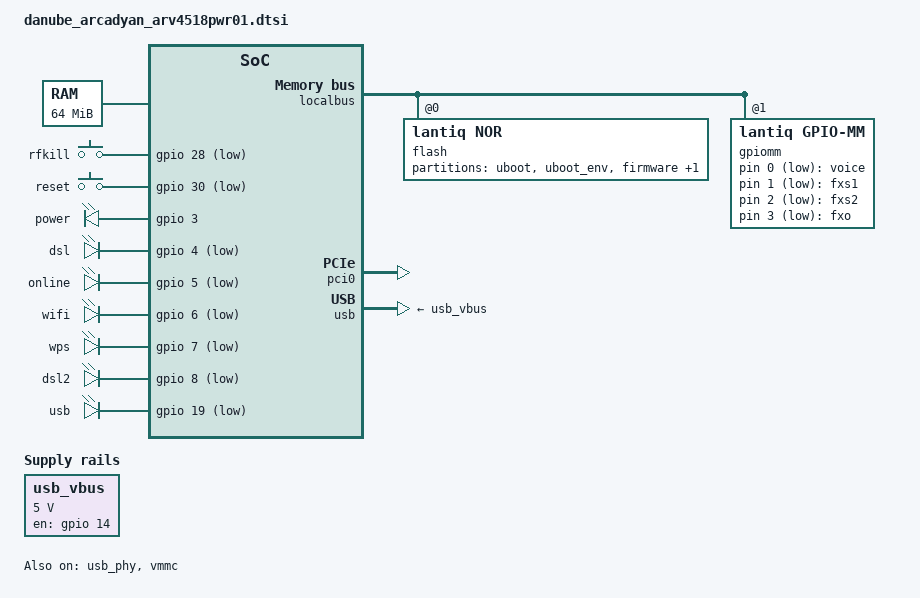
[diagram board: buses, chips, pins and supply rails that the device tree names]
#include "danube.dtsi"

#include <dt-bindings/input/input.h>

/ {
	chosen {
		bootargs = "console=ttyLTQ0,115200";
	};

	aliases {
		led-boot = &power;
		led-failsafe = &power;
		led-running = &power;
		led-upgrade = &power;

		led-dsl = &dsl;
		led-internet = &online;
		led-usb = &led_usb;
		led-wifi = &wifi;
	};

	memory@0 {
		device_type = "memory";
		reg = <0x0 0x4000000>;
	};

	ath5k_eep {
		compatible = "ath5k,eeprom";
		ath,eep-flash = <&boardconfig 0x400>;
		ath,mac-offset = <0x16>;
		ath,mac-increment = <1>;
		ath,eep-swap;
	};

	keys {
		compatible = "gpio-keys-polled";
		poll-interval = <100>;

		rfkill {
			label = "rfkill";
			gpios = <&gpio 28 GPIO_ACTIVE_LOW>;
			linux,code = <KEY_RFKILL>;
		};
		reset {
			label = "reset";
			gpios = <&gpio 30 GPIO_ACTIVE_LOW>;
			linux,code = <KEY_RESTART>;
		};
	};

	leds {
		compatible = "gpio-leds";
		power: power {
			label = "power";
			gpios = <&gpio 3 GPIO_ACTIVE_HIGH>;
			default-state = "keep";
		};
		dsl: dsl {
			label = "dsl";
			gpios = <&gpio 4 GPIO_ACTIVE_LOW>;
		};
		online: online {
			label = "online";
			gpios = <&gpio 5 GPIO_ACTIVE_LOW>;
		};
		wifi: wifi {
			label = "wifi";
			gpios = <&gpio 6 GPIO_ACTIVE_LOW>;
		};
		wps {
			label = "wps";
			gpios = <&gpio 7 GPIO_ACTIVE_LOW>;
		};
		dsl2 {
			label = "dsl2";
			gpios = <&gpio 8 GPIO_ACTIVE_LOW>;
		};
		led_usb: usb {
			label = "usb";
			gpios = <&gpio 19 GPIO_ACTIVE_LOW>;
		};
		voice {
			label = "voice";
			gpios = <&gpiomm 0 GPIO_ACTIVE_LOW>;
		};
		fxs1 {
			label = "fxs1";
			gpios = <&gpiomm 1 GPIO_ACTIVE_LOW>;
		};
		fxs2 {
			label = "fxs2";
			gpios = <&gpiomm 2 GPIO_ACTIVE_LOW>;
		};
		fxo {
			label = "fxo";
			gpios = <&gpiomm 3 GPIO_ACTIVE_LOW>;
		};
	};

	usb_vbus: regulator-usb-vbus {
		compatible = "regulator-fixed";

		regulator-name = "USB_VBUS";

		regulator-min-microvolt = <5000000>;
		regulator-max-microvolt = <5000000>;

		gpio = <&gpio 14 GPIO_ACTIVE_HIGH>;
		enable-active-high;
	};
};

&gpio {
	pinctrl-names = "default";
	pinctrl-0 = <&state_default>;

	state_default: pinmux {
		ebu {
			lantiq,groups = "ebu cs1";
			lantiq,function = "ebu";
		};
	};
};

&gsw {
	phy-mode = "mii";
	mtd-mac-address = <&boardconfig 0x16>;
};

&localbus {
	flash@0 {
		compatible = "lantiq,nor";
		bank-width = <2>;
		reg = <0 0x0 0x2000000>;

		partitions {
			compatible = "fixed-partitions";
			#address-cells = <1>;
			#size-cells = <1>;

			partition@0 {
				label = "uboot";
				reg = <0x00000 0x10000>; /* 64 KB */
				read-only;
			};

			partition@10000 {
				label = "uboot_env";
				reg = <0x10000 0x10000>; /* 64 KB */
				read-only;
			};

			partition@20000 {
				label = "firmware";
				reg = <0x20000 0x3d0000>;
			};

			boardconfig: partition@400000 {
				label = "boardconfig";
				reg = <0x3f0000 0x10000>;
				read-only;
			};
		};
	};

	gpiomm: gpio@1 {
		compatible = "lantiq,gpio-mm";
		reg = <1 0x0 0x10 >;
		#address-cells = <1>;
		#size-cells = <1>;
		#gpio-cells = <2>;
		gpio-controller;
		lantiq,shadow = <0x0>;
	};
};

&pci0 {
	status = "okay";

	pinctrl-0 = <&pci_gnt1_pins>, <&pci_gnt2_pins>,
		    <&pci_req1_pins>, <&pci_req2_pins>;
	pinctrl-names = "default";

	gpio-reset = <&gpio 21 GPIO_ACTIVE_HIGH>;
	req-mask = <0xf>;
};

&usb_phy {
	status = "okay";
};

&usb {
	status = "okay";
	vbus-supply = <&usb_vbus>;
};

&vmmc {
	status = "okay";
	gpios = <&gpio 31 GPIO_ACTIVE_HIGH>;
};
